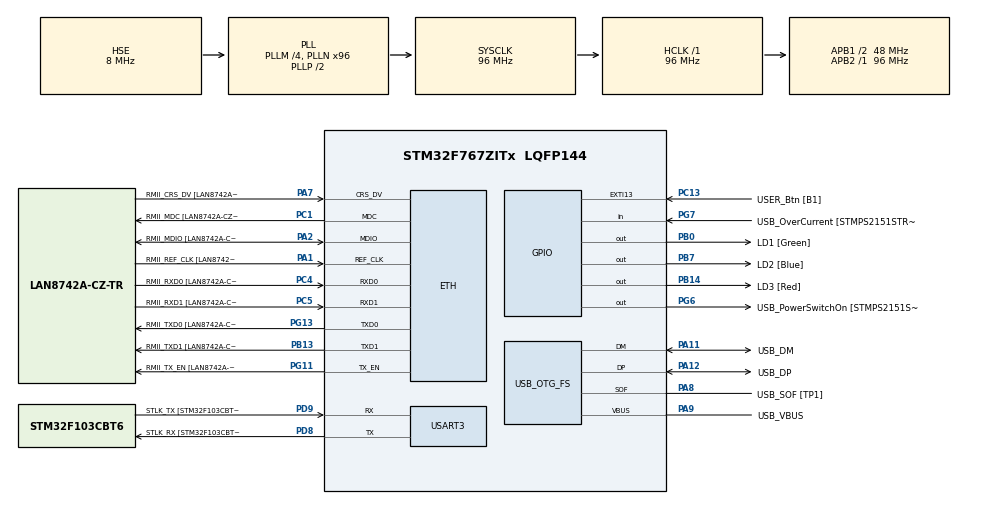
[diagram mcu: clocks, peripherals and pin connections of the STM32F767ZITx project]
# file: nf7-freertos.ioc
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ETH.MediaInterface=HAL_ETH_RMII_MODE
ETH.PHY_Name=LAN8742A_PHY_ADDRESS
ETH.PHY_Value=0
ETH.PhyAddress=0
Mcu.Family=STM32F7
Mcu.Name=STM32F767ZITx
Mcu.Package=LQFP144
NVIC.PriorityGroup=NVIC_PRIORITYGROUP_4
NVIC.TIM6_DAC_IRQn=true\:15\:0\:false\:false\:true\:false\:true\:true
NVIC.TimeBase=TIM6_DAC_IRQn
NVIC.TimeBaseIP=TIM6
PA1.GPIO_Label=RMII_REF_CLK [LAN8742A-CZ-TR_REFCLK0]
PA1.Mode=RMII
PA1.Signal=ETH_REF_CLK
PA10.GPIO_Label=USB_ID
PA10.Signal=USB_OTG_FS_ID
PA11.GPIO_Label=USB_DM
PA11.Mode=Device_Only
PA11.Signal=USB_OTG_FS_DM
PA12.GPIO_Label=USB_DP
PA12.Mode=Device_Only
PA12.Signal=USB_OTG_FS_DP
PA13.GPIO_Label=TMS
PA13.Mode=Serial_Wire
PA13.Signal=SYS_JTMS-SWDIO
PA14.GPIO_Label=TCK
PA14.Mode=Serial_Wire
PA14.Signal=SYS_JTCK-SWCLK
PA2.GPIO_Label=RMII_MDIO [LAN8742A-CZ-TR_MDIO]
PA2.Mode=RMII
PA2.Signal=ETH_MDIO
PA7.GPIO_Label=RMII_CRS_DV [LAN8742A-CZ-TR_CRS_DV]
PA7.Mode=RMII
PA7.Signal=ETH_CRS_DV
PA8.GPIO_Label=USB_SOF [TP1]
PA8.Mode=Activate_SOF_FS
PA8.Signal=USB_OTG_FS_SOF
PA9.GPIO_Label=USB_VBUS
PA9.Mode=Activate_VBUS
PA9.Signal=USB_OTG_FS_VBUS
PB0.GPIO_Label=LD1 [Green]
PB0.Signal=GPIO_Output
PB13.GPIO_Label=RMII_TXD1 [LAN8742A-CZ-TR_TXD1]
PB13.Mode=RMII
PB13.Signal=ETH_TXD1
PB14.GPIO_Label=LD3 [Red]
PB14.Signal=GPIO_Output
PB3.GPIO_Label=SWO
PB3.Signal=SYS_JTDO-SWO
PB7.GPIO_Label=LD2 [Blue]
PB7.Signal=GPIO_Output
PC1.GPIO_Label=RMII_MDC [LAN8742A-CZ-TR_MDC]
PC1.Mode=RMII
PC1.Signal=ETH_MDC
PC13.GPIO_Label=USER_Btn [B1]
PC13.Signal=GPXTI13
PC14/OSC32_IN.Mode=LSE-External-Oscillator
PC14/OSC32_IN.Signal=RCC_OSC32_IN
PC15/OSC32_OUT.Mode=LSE-External-Oscillator
PC15/OSC32_OUT.Signal=RCC_OSC32_OUT
PC4.GPIO_Label=RMII_RXD0 [LAN8742A-CZ-TR_RXD0]
PC4.Mode=RMII
PC4.Signal=ETH_RXD0
PC5.GPIO_Label=RMII_RXD1 [LAN8742A-CZ-TR_RXD1]
PC5.Mode=RMII
PC5.Signal=ETH_RXD1
PD8.GPIO_Label=STLK_RX [STM32F103CBT6_PA3]
PD8.Mode=Asynchronous
PD8.Signal=USART3_TX
PD9.GPIO_Label=STLK_TX [STM32F103CBT6_PA2]
PD9.Mode=Asynchronous
PD9.Signal=USART3_RX
PG11.GPIO_Label=RMII_TX_EN [LAN8742A-CZ-TR_TXEN]
PG11.Mode=RMII
PG11.Signal=ETH_TX_EN
PG13.GPIO_Label=RMII_TXD0 [LAN8742A-CZ-TR_TXD0]
PG13.Mode=RMII
PG13.Signal=ETH_TXD0
PG6.GPIO_Label=USB_PowerSwitchOn [STMPS2151STR_EN]
PG6.Signal=GPIO_Output
PG7.GPIO_Label=USB_OverCurrent [STMPS2151STR_FAULT]
PG7.Signal=GPIO_Input
PH0/OSC_IN.GPIO_Label=MCO [STM32F103CBT6_PA8]
PH0/OSC_IN.Mode=HSE-External-Clock-Source
PH0/OSC_IN.Signal=RCC_OSC_IN
PH1/OSC_OUT.Mode=HSE-External-Clock-Source
PH1/OSC_OUT.Signal=RCC_OSC_OUT
ProjectManager.HeapSize=0x200
ProjectManager.StackSize=0x400
ProjectManager.TargetToolchain=STM32CubeIDE
RCC.48MHZClocksFreq_Value=24000000
RCC.AHBFreq_Value=96000000
RCC.APB1CLKDivider=RCC_HCLK_DIV2
RCC.APB1Freq_Value=48000000
RCC.APB1TimFreq_Value=96000000
RCC.APB2Freq_Value=96000000
RCC.APB2TimFreq_Value=96000000
RCC.CortexFreq_Value=96000000
RCC.HCLKFreq_Value=96000000
RCC.HSE_VALUE=8000000
RCC.HSI_VALUE=16000000
RCC.PLLM=4
RCC.PLLMUL=RCC_PLL_MUL9
RCC.PLLN=96
RCC.PLLQ=4
RCC.PRESCALERUSB=RCC_USBCLKSOURCE_PLL_DIV1_5
RCC.SYSCLKFreq_VALUE=96000000
RCC.SYSCLKSource=RCC_SYSCLKSOURCE_PLLCLK
RCC.SYSCLKSourceVirtual=RCC_SYSCLKSOURCE_PLLCLK
RCC.USBFreq_Value=48000000
RCC.VCOOutputFreq_Value=192000000
USART3.VirtualMode-Asynchronous=VM_ASYNC
USB_OTG_FS.VirtualMode=Device_Only
VP_SYS_VS_tim6.Mode=TIM6
board=NUCLEO-F767ZI

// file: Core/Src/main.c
/* USER CODE BEGIN Header */
/**
  ******************************************************************************
  * @file           : main.c
  * @brief          : Main program body
  ******************************************************************************
  * @attention
  *
  * Copyright (c) 2025 STMicroelectronics.
  * All rights reserved.
  *
  * This software is licensed under terms that can be found in the LICENSE file
  * in the root directory of this software component.
  * If no LICENSE file comes with this software, it is provided AS-IS.
  *
  ******************************************************************************
  */
  /* Additional code:
   * Author: Douglas P. Fields, Jr. <symbolics@lisp.engineer>
   * Date: 2025-03-25
   */
/* USER CODE END Header */
#include "main.h"
#include "string.h"

/* USER CODE BEGIN Includes */
#include "FreeRTOS.h"
#include "task.h"

/* USER CODE END Includes */

#if defined ( __ICCARM__ ) /*!< IAR Compiler */
#pragma location=0x2007c000
ETH_DMADescTypeDef  DMARxDscrTab[ETH_RX_DESC_CNT]; /* Ethernet Rx DMA Descriptors */
#pragma location=0x2007c0a0
ETH_DMADescTypeDef  DMATxDscrTab[ETH_TX_DESC_CNT]; /* Ethernet Tx DMA Descriptors */

#elif defined ( __CC_ARM )  /* MDK ARM Compiler */

__attribute__((at(0x2007c000))) ETH_DMADescTypeDef  DMARxDscrTab[ETH_RX_DESC_CNT]; /* Ethernet Rx DMA Descriptors */
__attribute__((at(0x2007c0a0))) ETH_DMADescTypeDef  DMATxDscrTab[ETH_TX_DESC_CNT]; /* Ethernet Tx DMA Descriptors */

#elif defined ( __GNUC__ ) /* GNU Compiler */

ETH_DMADescTypeDef DMARxDscrTab[ETH_RX_DESC_CNT] __attribute__((section(".RxDecripSection"))); /* Ethernet Rx DMA Descriptors */
ETH_DMADescTypeDef DMATxDscrTab[ETH_TX_DESC_CNT] __attribute__((section(".TxDecripSection")));   /* Ethernet Tx DMA Descriptors */
#endif

ETH_TxPacketConfig TxConfig;

ETH_HandleTypeDef heth;

UART_HandleTypeDef huart3;

PCD_HandleTypeDef hpcd_USB_OTG_FS;

void SystemClock_Config(void);
static void MX_GPIO_Init(void);
static void MX_ETH_Init(void);
static void MX_USART3_UART_Init(void);
static void MX_USB_OTG_FS_PCD_Init(void);

/* USER CODE BEGIN 0 */

/** A FreeRTOS task that just blinks LD2 */
void blink_ld2(void *param) {
  while (1) {
    HAL_GPIO_TogglePin(LD2_GPIO_Port, LD2_Pin);
    // HAL_Delay(100);
    vTaskDelay(100);
  }
}

/** A FreeRTOS task that just blinks LD3 */
void blink_ld3(void *param) {
  while (1) {
    HAL_GPIO_TogglePin(LD3_GPIO_Port, LD3_Pin);
    // HAL_Delay(750);
    vTaskDelay(750);
  }
}

/* USER CODE END 0 */

int main(void)
{

  /* USER CODE BEGIN 1 */
  TaskHandle_t blink_ld2_task;
  TaskHandle_t blink_ld3_task;

  BaseType_t status;

  /* USER CODE END 1 */

  /* MCU Configuration--------------------------------------------------------*/

  /* Reset of all peripherals, Initializes the Flash interface and the Systick. */
  HAL_Init();

  /* Configure the system clock */
  SystemClock_Config();

  /* Initialize all configured peripherals */
  MX_GPIO_Init();
  MX_ETH_Init();
  MX_USART3_UART_Init();
  MX_USB_OTG_FS_PCD_Init();
  /* USER CODE BEGIN 2 */

  // Enable Segger SystemView
  traceSTART();

  // Create a test task that blinks a different LED than LD1
  status = xTaskCreate(blink_ld2, "Blink-LD2", 200, NULL, 2, &blink_ld2_task);
  configASSERT(status == pdPASS);

  status = xTaskCreate(blink_ld3, "Blink-LD3", 200, NULL, 2, &blink_ld3_task);
  configASSERT(status == pdPASS);

  // Start FreeRTOS
  // This should never return unless there is a problem
  vTaskStartScheduler();

  /* USER CODE END 2 */

  /* Infinite loop */
  while (1)
  {

    /* USER CODE BEGIN 3 */
    // If LD1 is blinking, then vTaskStartScheduler didn't work
    HAL_GPIO_TogglePin(LD1_GPIO_Port, LD1_Pin);
    HAL_Delay(500);
  }
  /* USER CODE END 3 */
}

void SystemClock_Config(void)
{
  RCC_OscInitTypeDef RCC_OscInitStruct = {0};
  RCC_ClkInitTypeDef RCC_ClkInitStruct = {0};

  /** Configure LSE Drive Capability
  */
  HAL_PWR_EnableBkUpAccess();

  /** Configure the main internal regulator output voltage
  */
  __HAL_RCC_PWR_CLK_ENABLE();
  __HAL_PWR_VOLTAGESCALING_CONFIG(PWR_REGULATOR_VOLTAGE_SCALE3);

  /** Initializes the RCC Oscillators according to the specified parameters
  * in the RCC_OscInitTypeDef structure.
  */
  RCC_OscInitStruct.OscillatorType = RCC_OSCILLATORTYPE_HSE;
  RCC_OscInitStruct.HSEState = RCC_HSE_BYPASS;
  RCC_OscInitStruct.PLL.PLLState = RCC_PLL_ON;
  RCC_OscInitStruct.PLL.PLLSource = RCC_PLLSOURCE_HSE;
  RCC_OscInitStruct.PLL.PLLM = 4;
  RCC_OscInitStruct.PLL.PLLN = 96;
  RCC_OscInitStruct.PLL.PLLP = RCC_PLLP_DIV2;
  RCC_OscInitStruct.PLL.PLLQ = 4;
  RCC_OscInitStruct.PLL.PLLR = 2;
  if (HAL_RCC_OscConfig(&RCC_OscInitStruct) != HAL_OK)
  {
    Error_Handler();
  }

  /** Activate the Over-Drive mode
  */
  if (HAL_PWREx_EnableOverDrive() != HAL_OK)
  {
    Error_Handler();
  }

  /** Initializes the CPU, AHB and APB buses clocks
  */
  RCC_ClkInitStruct.ClockType = RCC_CLOCKTYPE_HCLK|RCC_CLOCKTYPE_SYSCLK
                              |RCC_CLOCKTYPE_PCLK1|RCC_CLOCKTYPE_PCLK2;
  RCC_ClkInitStruct.SYSCLKSource = RCC_SYSCLKSOURCE_PLLCLK;
  RCC_ClkInitStruct.AHBCLKDivider = RCC_SYSCLK_DIV1;
  RCC_ClkInitStruct.APB1CLKDivider = RCC_HCLK_DIV2;
  RCC_ClkInitStruct.APB2CLKDivider = RCC_HCLK_DIV1;

  if (HAL_RCC_ClockConfig(&RCC_ClkInitStruct, FLASH_LATENCY_3) != HAL_OK)
  {
    Error_Handler();
  }
}

static void MX_ETH_Init(void)
{

   static uint8_t MACAddr[6];

  heth.Instance = ETH;
  MACAddr[0] = 0x00;
  MACAddr[1] = 0x80;
  MACAddr[2] = 0xE1;
  MACAddr[3] = 0x00;
  MACAddr[4] = 0x00;
  MACAddr[5] = 0x00;
  heth.Init.MACAddr = &MACAddr[0];
  heth.Init.MediaInterface = HAL_ETH_RMII_MODE;
  heth.Init.TxDesc = DMATxDscrTab;
  heth.Init.RxDesc = DMARxDscrTab;
  heth.Init.RxBuffLen = 1524;

  if (HAL_ETH_Init(&heth) != HAL_OK)
  {
    Error_Handler();
  }

  memset(&TxConfig, 0 , sizeof(ETH_TxPacketConfig));
  TxConfig.Attributes = ETH_TX_PACKETS_FEATURES_CSUM | ETH_TX_PACKETS_FEATURES_CRCPAD;
  TxConfig.ChecksumCtrl = ETH_CHECKSUM_IPHDR_PAYLOAD_INSERT_PHDR_CALC;
  TxConfig.CRCPadCtrl = ETH_CRC_PAD_INSERT;

}

static void MX_USART3_UART_Init(void)
{

  huart3.Instance = USART3;
  huart3.Init.BaudRate = 115200;
  huart3.Init.WordLength = UART_WORDLENGTH_8B;
  huart3.Init.StopBits = UART_STOPBITS_1;
  huart3.Init.Parity = UART_PARITY_NONE;
  huart3.Init.Mode = UART_MODE_TX_RX;
  huart3.Init.HwFlowCtl = UART_HWCONTROL_NONE;
  huart3.Init.OverSampling = UART_OVERSAMPLING_16;
  huart3.Init.OneBitSampling = UART_ONE_BIT_SAMPLE_DISABLE;
  huart3.AdvancedInit.AdvFeatureInit = UART_ADVFEATURE_NO_INIT;
  if (HAL_UART_Init(&huart3) != HAL_OK)
  {
    Error_Handler();
  }

}

static void MX_USB_OTG_FS_PCD_Init(void)
{

  hpcd_USB_OTG_FS.Instance = USB_OTG_FS;
  hpcd_USB_OTG_FS.Init.dev_endpoints = 6;
  hpcd_USB_OTG_FS.Init.speed = PCD_SPEED_FULL;
  hpcd_USB_OTG_FS.Init.dma_enable = DISABLE;
  hpcd_USB_OTG_FS.Init.phy_itface = PCD_PHY_EMBEDDED;
  hpcd_USB_OTG_FS.Init.Sof_enable = ENABLE;
  hpcd_USB_OTG_FS.Init.low_power_enable = DISABLE;
  hpcd_USB_OTG_FS.Init.lpm_enable = DISABLE;
  hpcd_USB_OTG_FS.Init.vbus_sensing_enable = ENABLE;
  hpcd_USB_OTG_FS.Init.use_dedicated_ep1 = DISABLE;
  if (HAL_PCD_Init(&hpcd_USB_OTG_FS) != HAL_OK)
  {
    Error_Handler();
  }

}

static void MX_GPIO_Init(void)
{
  GPIO_InitTypeDef GPIO_InitStruct = {0};

  /* GPIO Ports Clock Enable */
  __HAL_RCC_GPIOC_CLK_ENABLE();
  __HAL_RCC_GPIOH_CLK_ENABLE();
  __HAL_RCC_GPIOA_CLK_ENABLE();
  __HAL_RCC_GPIOB_CLK_ENABLE();
  __HAL_RCC_GPIOD_CLK_ENABLE();
  __HAL_RCC_GPIOG_CLK_ENABLE();

  /*Configure GPIO pin Output Level */
  HAL_GPIO_WritePin(GPIOB, LD1_Pin|LD3_Pin|LD2_Pin, GPIO_PIN_RESET);

  /*Configure GPIO pin Output Level */
  HAL_GPIO_WritePin(USB_PowerSwitchOn_GPIO_Port, USB_PowerSwitchOn_Pin, GPIO_PIN_RESET);

  /*Configure GPIO pin : USER_Btn_Pin */
  GPIO_InitStruct.Pin = USER_Btn_Pin;
  GPIO_InitStruct.Mode = GPIO_MODE_IT_RISING;
  GPIO_InitStruct.Pull = GPIO_NOPULL;
  HAL_GPIO_Init(USER_Btn_GPIO_Port, &GPIO_InitStruct);

  /*Configure GPIO pins : LD1_Pin LD3_Pin LD2_Pin */
  GPIO_InitStruct.Pin = LD1_Pin|LD3_Pin|LD2_Pin;
  GPIO_InitStruct.Mode = GPIO_MODE_OUTPUT_PP;
  GPIO_InitStruct.Pull = GPIO_NOPULL;
  GPIO_InitStruct.Speed = GPIO_SPEED_FREQ_LOW;
  HAL_GPIO_Init(GPIOB, &GPIO_InitStruct);

  /*Configure GPIO pin : USB_PowerSwitchOn_Pin */
  GPIO_InitStruct.Pin = USB_PowerSwitchOn_Pin;
  GPIO_InitStruct.Mode = GPIO_MODE_OUTPUT_PP;
  GPIO_InitStruct.Pull = GPIO_NOPULL;
  GPIO_InitStruct.Speed = GPIO_SPEED_FREQ_LOW;
  HAL_GPIO_Init(USB_PowerSwitchOn_GPIO_Port, &GPIO_InitStruct);

  /*Configure GPIO pin : USB_OverCurrent_Pin */
  GPIO_InitStruct.Pin = USB_OverCurrent_Pin;
  GPIO_InitStruct.Mode = GPIO_MODE_INPUT;
  GPIO_InitStruct.Pull = GPIO_NOPULL;
  HAL_GPIO_Init(USB_OverCurrent_GPIO_Port, &GPIO_InitStruct);

}

void HAL_TIM_PeriodElapsedCallback(TIM_HandleTypeDef *htim)
{
  if (htim->Instance == TIM6)
  {
    HAL_IncTick();
  }
}

void Error_Handler(void)
{
  __disable_irq();
  while (1)
  {
  }
}
